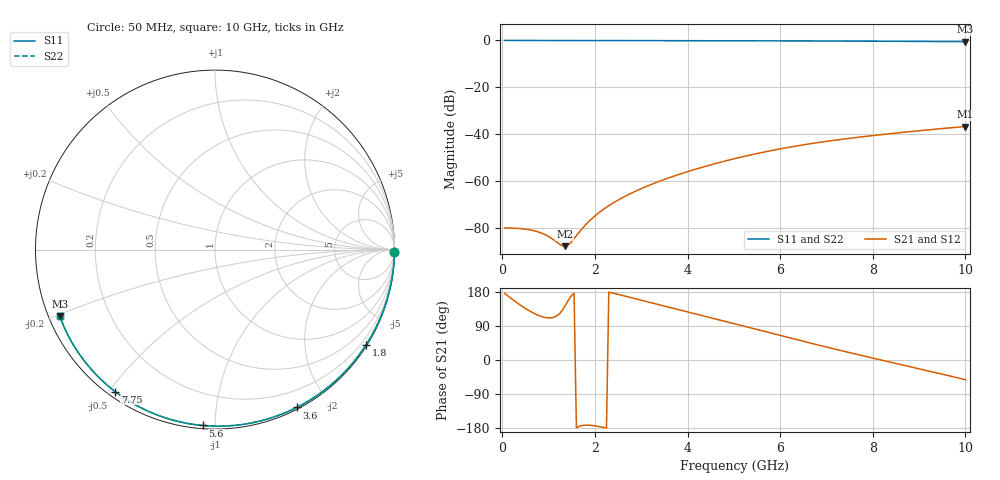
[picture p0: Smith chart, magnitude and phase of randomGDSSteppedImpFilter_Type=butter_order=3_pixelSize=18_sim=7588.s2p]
! freq	dB(S11)	phase(S11)	dB(S12)	phase(S12)
!  dB(S21)	phase(S21)	dB(S22)	phase(S22)
!S-par simulation data
#  GHz  S  DB  R 50
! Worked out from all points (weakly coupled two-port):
!   200 points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, 50 MHz to 10 GHz, reference 50 ohm
!   highest |S21| = -36.73 dB at 10 GHz (marker M1); lowest = -87.7 dB at 1.35 GHz (marker M2)
!   lowest |S11| = -0.5 dB at 10 GHz (marker M3), VSWR 32.94, Z = 1.58 - j10.2 ohm
!   |S11| at or under -10 dB: nowhere
!   |S22| runs from -0.5 to 0.0 dB; largest |S21 - S12| = 0
!   S11 on the Smith chart (normalised r, x): 50 MHz: open; 1.8 GHz: 0.03, -3.47; 3.6 GHz: 0.02, -1.64; 5.6 GHz: 0.02, -0.93; 7.75 GHz: 0.02, -0.52; 10 GHz: 0.03, -0.20
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0.05  -0.00 -0.9  -79.97 176.6  -79.97 176.6  -0.00 -0.9
0.7  -0.01 -12.7  -81.22 122.2  -81.22 122.2  -0.01 -12.7
1.35  -0.03 -24.3  -87.74 141.8  -87.74 141.8  -0.03 -24.3
1.7  -0.04 -30.4  -80.80 -173.6  -80.80 -173.6  -0.04 -30.4
1.75  -0.04 -31.3  -79.66 -172.5  -79.66 -172.5  -0.04 -31.3
1.8  -0.04 -32.2  -78.58 -172.0  -78.58 -172.0  -0.04 -32.2
1.95  -0.04 -34.8  -75.70 -172.8  -75.70 -172.8  -0.04 -34.8
2.1  -0.05 -37.4  -73.25 -175.7  -73.25 -175.7  -0.05 -37.4
2.25  -0.05 -40.0  -71.12 -179.5  -71.12 -179.5  -0.05 -40.0
2.45  -0.06 -43.4  -68.64 174.8  -68.64 174.8  -0.06 -43.4
2.9  -0.07 -51.1  -64.07 160.9  -64.07 160.9  -0.07 -51.1
3.4  -0.08 -59.4  -60.00 145.3  -60.00 145.3  -0.08 -59.4
3.6  -0.08 -62.7  -58.57 139.2  -58.57 139.2  -0.08 -62.7
4.3  -0.11 -73.9  -54.17 117.7  -54.17 117.7  -0.11 -73.9
5.05  -0.13 -85.6  -50.25 94.5  -50.25 94.5  -0.13 -85.6
5.6  -0.16 -93.9  -47.81 77.4  -47.81 77.4  -0.16 -93.9
6.15  -0.18 -102.1  -45.71 60.2  -45.71 60.2  -0.18 -102.1
6.7  -0.21 -110.1  -43.91 43.3  -43.91 43.3  -0.21 -110.1
7.75  -0.29 -125.0  -41.14 12.2  -41.14 12.2  -0.29 -125.0
8.35  -0.34 -133.5  -39.81 -4.7  -39.81 -4.7  -0.34 -133.5
9.2  -0.43 -145.4  -38.12 -28.6  -38.12 -28.6  -0.43 -145.4
10  -0.53 -156.8  -36.73 -52.2  -36.73 -52.2  -0.53 -156.8
